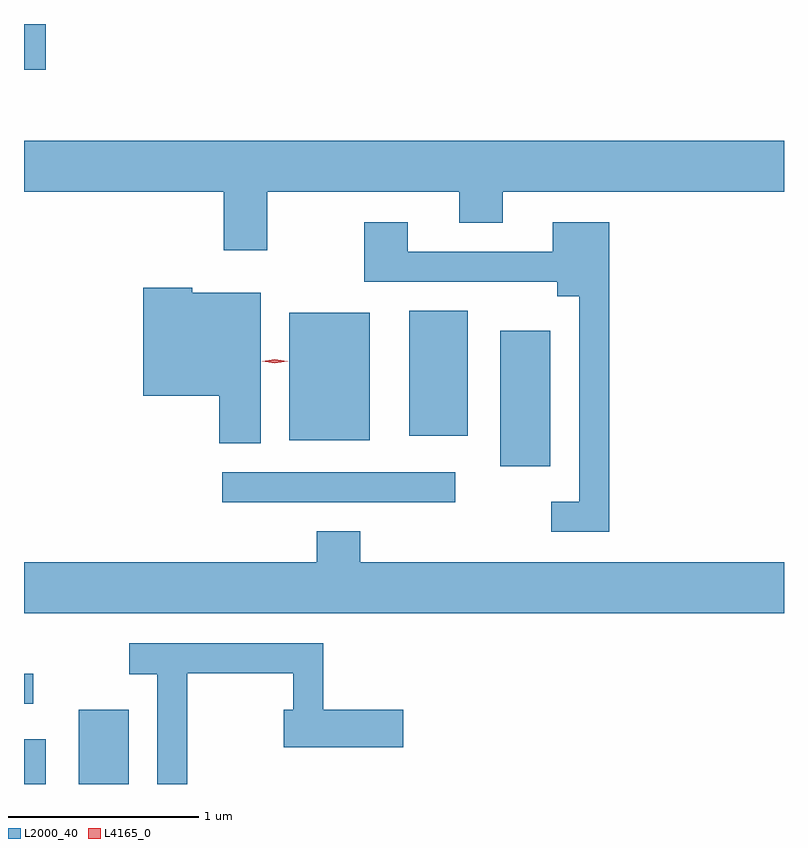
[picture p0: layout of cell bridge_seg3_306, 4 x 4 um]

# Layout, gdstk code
import gdstk
lib = gdstk.Library(unit=1e-6, precision=1e-09)
def R(c, l, rs):  # rectangles x0, y0, x1, y1
    for r in rs: c.add(gdstk.rectangle(r[:2], r[2:], *l))
def P(c, l, *ps):  # polygons
    for p in ps: c.add(gdstk.Polygon(p, *l))
L2000_40 = (2000, 40)
L4165_0 = (4165, 0)

bridge_seg3_306 = lib.new_cell('bridge_seg3_306')
R(bridge_seg3_306, L2000_40, [(600.549,1156.198,600.664,1156.434), (600.836,1156.198,601.099,1156.589), (600.549,1156.621,600.598,1156.779), (601.593,1157.681,602.818,1157.839), (603.056,1157.871,603.319,1158.584), (601.946,1158.006,602.369,1158.679), (602.576,1158.031,602.884,1158.689), (600.549,1159.956,600.664,1160.198)])
P(bridge_seg3_306, L2000_40, [(600.549,1159.316),(601.601,1159.316),(601.601,1159.006),(601.829,1159.006),(601.829,1159.316),(602.841,1159.316),(602.841,1159.151),(603.069,1159.151),(603.069,1159.316),(604.549,1159.316),(604.549,1159.584),(600.549,1159.584)],
  [(603.629,1159.154),(603.331,1159.154),(603.331,1158.999),(602.569,1158.999),(602.569,1159.154),(602.341,1159.154),(602.341,1158.841),(603.356,1158.841),(603.356,1158.766),(603.471,1158.766),(603.471,1157.684),(603.323,1157.684),(603.323,1157.526),(603.629,1157.526)],
  [(601.794,1158.784),(601.434,1158.784),(601.434,1158.809),(601.176,1158.809),(601.176,1158.241),(601.576,1158.241),(601.576,1157.991),(601.794,1157.991)],
  [(604.549,1157.364),(602.319,1157.364),(602.319,1157.529),(602.091,1157.529),(602.091,1157.364),(600.549,1157.364),(600.549,1157.096),(604.549,1157.096)],
  [(601.409,1156.781),(601.966,1156.781),(601.966,1156.589),(601.916,1156.589),(601.916,1156.391),(602.544,1156.391),(602.544,1156.589),(602.124,1156.589),(602.124,1156.939),(601.103,1156.939),(601.103,1156.776),(601.251,1156.776),(601.251,1156.198),(601.409,1156.198)])
P(bridge_seg3_306, L4165_0, [(601.87,1158.413),(601.804,1158.423),(601.804,1158.424),(601.804,1158.424),(601.87,1158.433),(601.936,1158.423),(601.936,1158.422),(601.936,1158.422)])

lib.write_gds('bridge_seg3_306.gds')
